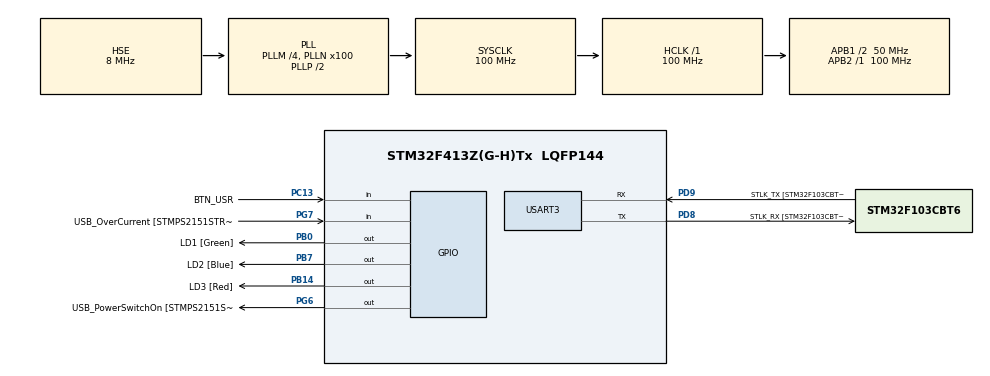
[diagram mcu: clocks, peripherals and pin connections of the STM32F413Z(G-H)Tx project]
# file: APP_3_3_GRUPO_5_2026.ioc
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Mcu.Family=STM32F4
Mcu.Name=STM32F413Z(G-H)Tx
Mcu.Package=LQFP144
NVIC.PriorityGroup=NVIC_PRIORITYGROUP_4
PA14.GPIO_Label=TCK
PA14.Signal=SYS_JTCK-SWCLK
PB0.GPIO_Label=LD1 [Green]
PB0.Signal=GPIO_Output
PB14.GPIO_Label=LD3 [Red]
PB14.Signal=GPIO_Output
PB7.GPIO_Label=LD2 [Blue]
PB7.Signal=GPIO_Output
PC13.GPIO_Label=BTN_USR
PC13.Signal=GPIO_Input
PC14-OSC32_IN.Mode=LSE-External-Oscillator
PC14-OSC32_IN.Signal=RCC_OSC32_IN
PC15-OSC32_OUT.Mode=LSE-External-Oscillator
PC15-OSC32_OUT.Signal=RCC_OSC32_OUT
PD8.GPIO_Label=STLK_RX [STM32F103CBT6_PA3]
PD8.Mode=Asynchronous
PD8.Signal=USART3_TX
PD9.GPIO_Label=STLK_TX [STM32F103CBT6_PA2]
PD9.Mode=Asynchronous
PD9.Signal=USART3_RX
PG6.GPIO_Label=USB_PowerSwitchOn [STMPS2151STR_EN]
PG6.Signal=GPIO_Output
PG7.GPIO_Label=USB_OverCurrent [STMPS2151STR_FAULT]
PG7.Signal=GPIO_Input
PH0\ -\ OSC_IN.GPIO_Label=MCO
PH0\ -\ OSC_IN.Mode=HSE-External-Oscillator
PH0\ -\ OSC_IN.Signal=RCC_OSC_IN
PH1\ -\ OSC_OUT.Mode=HSE-External-Oscillator
PH1\ -\ OSC_OUT.Signal=RCC_OSC_OUT
ProjectManager.HeapSize=0x200
ProjectManager.StackSize=0x400
ProjectManager.TargetToolchain=STM32CubeIDE
RCC.48MHZClocksFreq_Value=24000000
RCC.AHBFreq_Value=100000000
RCC.APB1CLKDivider=RCC_HCLK_DIV2
RCC.APB1Freq_Value=50000000
RCC.APB1TimFreq_Value=100000000
RCC.APB2Freq_Value=100000000
RCC.APB2TimFreq_Value=100000000
RCC.CortexFreq_Value=100000000
RCC.HCLKFreq_Value=100000000
RCC.HSE_VALUE=8000000
RCC.HSI_VALUE=16000000
RCC.PLLM=4
RCC.PLLMUL=RCC_PLL_MUL9
RCC.PLLN=100
RCC.PLLQ=8
RCC.PLLSourceVirtual=RCC_PLLSOURCE_HSE
RCC.PRESCALERUSB=RCC_USBCLKSOURCE_PLL_DIV1_5
RCC.SYSCLKFreq_VALUE=100000000
RCC.SYSCLKSource=RCC_SYSCLKSOURCE_PLLCLK
RCC.SYSCLKSourceVirtual=RCC_SYSCLKSOURCE_PLLCLK
RCC.USBFreq_Value=25000000
RCC.VCOOutputFreq_Value=200000000
USART3.VirtualMode=VM_ASYNC
board=NUCLEO-F413ZH

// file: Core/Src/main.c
/* USER CODE BEGIN Header */
/**
  ******************************************************************************
  * @file           : main.c
  * @brief          : App 1.3 - Control de secuencias de LEDs con FSM Debounce
  ******************************************************************************
  * @attention
  *
  * Copyright (c) 2026 STMicroelectronics.
  * All rights reserved.
  *
  * This software is licensed under terms that can be found in the LICENSE file
  * in the root directory of this software component.
  * If no LICENSE file comes with this software, it is provided AS-IS.
  *
  ******************************************************************************
  */
/* USER CODE END Header */

#include "main.h"
#include <stdbool.h>
#include <stdint.h>
#include "API_GPIO.h"
#include "API_delay.h"
#include "API_debounce.h"

/* USER CODE BEGIN PD */
#define LED1 LD1_Pin // GREEN LED
#define LED2 LD2_Pin // BLUE LED
#define LED3 LD3_Pin // RED LED

#define RETARDO_100MS 100
#define RETARDO_150MS 150
#define RETARDO_300MS 300
#define RETARDO_600MS 600

#define CANT_LED 3
/* USER CODE END PD */

UART_HandleTypeDef huart3;

/* USER CODE BEGIN PV */
static uint16_t LEDS[CANT_LED] = {LED1, LED2, LED3};

/* Delays independientes para no interferir entre secuencias */
static delay_t timer_sec1;
static delay_t timer_sec2;
static delay_t timer_sec3_led1;
static delay_t timer_sec3_led2;
static delay_t timer_sec3_led3;
static delay_t timer_sec4;

static uint8_t secuencia_activa = 0;
/* USER CODE END PV */

void SystemClock_Config(void);
static void MX_USART3_UART_Init(void);

/* USER CODE BEGIN PFP */
static void apagarTodosLosLeds(void);
static void inicializarSecuencia(uint8_t sec);
static void ejecutarSecuencia1(void);
static void ejecutarSecuencia2(void);
static void ejecutarSecuencia3(void);
static void ejecutarSecuencia4(void);
/* USER CODE END PFP */

int main(void)
{
  /* MCU Configuration--------------------------------------------------------*/
  /* Reset of all peripherals, Initializes the Flash interface and the Systick. */
  HAL_Init();

  /* Configure the system clock */
  SystemClock_Config();

  /* Initialize all configured peripherals */
  MX_GPIO_Init();
  MX_USART3_UART_Init();

  /* USER CODE BEGIN 2 */
  /* Inicialización del antirrebote y la primera secuencia */
  debounceFSM_init();
  inicializarSecuencia(secuencia_activa);
  /* USER CODE END 2 */

  /* Infinite loop */
  /* USER CODE BEGIN WHILE */
  while (1)
  {
    /* 1. Actualización de la MEF de antirrebote leyendo el botón */
    bool estadoBoton = readButton_GPIO();
    debounceFSM_update(estadoBoton);

    /* 2. Detección de pulsación y transición de secuencia */
    if (readKey())
    {
      secuencia_activa++;
      if (secuencia_activa >= 4)
      {
        secuencia_activa = 0;
      }
      inicializarSecuencia(secuencia_activa);
    }

    /* 3. Ejecución no bloqueante de la secuencia seleccionada */
    switch (secuencia_activa)
    {
      case 0:
        ejecutarSecuencia1();
        break;

      case 1:
        ejecutarSecuencia2();
        break;

      case 2:
        ejecutarSecuencia3();
        break;

      case 3:
        ejecutarSecuencia4();
        break;

      default:
        secuencia_activa = 0;
        inicializarSecuencia(secuencia_activa);
        break;
    }
    /* USER CODE END WHILE */

  }
}

/* USER CODE BEGIN 4 */

static void apagarTodosLosLeds(void)
{
  writeLedOff_GPIO(LEDS[0]);
  writeLedOff_GPIO(LEDS[1]);
  writeLedOff_GPIO(LEDS[2]);
}

/**
  * @brief  Prepara las variables y estados de salida de cada secuencia al entrar en ella.
  */
static void inicializarSecuencia(uint8_t sec)
{
  apagarTodosLosLeds();

  switch (sec)
  {
    case 0:
      delayInit(&timer_sec1, RETARDO_150MS);
      writeLedOn_GPIO(LEDS[0]); // Inicia con el primer LED encendido
      break;

    case 1:
      delayInit(&timer_sec2, RETARDO_300MS);
      writeLedOn_GPIO(LEDS[0]);
      writeLedOn_GPIO(LEDS[1]);
      writeLedOn_GPIO(LEDS[2]);
      break;

    case 2:
      delayInit(&timer_sec3_led1, RETARDO_100MS);
      delayInit(&timer_sec3_led2, RETARDO_300MS);
      delayInit(&timer_sec3_led3, RETARDO_600MS);
      break;

    case 3:
      delayInit(&timer_sec4, RETARDO_150MS);
      writeLedOn_GPIO(LEDS[0]);  // LED1 ON
      writeLedOff_GPIO(LEDS[1]); // LED2 OFF
      writeLedOn_GPIO(LEDS[2]);  // LED3 ON
      break;

    default:
      break;
  }
}

/**
  * @brief  Secuencia 1: Rotación cíclica LED1 -> LED2 -> LED3 cada 150 ms.
  */
static void ejecutarSecuencia1(void)
{
  static uint8_t indiceLed = 0;

  if (delayRead(&timer_sec1))
  {
    writeLedOff_GPIO(LEDS[indiceLed]);
    indiceLed++;
    if (indiceLed >= CANT_LED)
    {
      indiceLed = 0;
    }
    writeLedOn_GPIO(LEDS[indiceLed]);
  }
}

/**
  * @brief  Secuencia 2: Parpadeo simultáneo de los 3 LEDs cada 300 ms.
  */
static void ejecutarSecuencia2(void)
{
  if (delayRead(&timer_sec2))
  {
    toggleLed_GPIO(LEDS[0]);
    toggleLed_GPIO(LEDS[1]);
    toggleLed_GPIO(LEDS[2]);
  }
}

/**
  * @brief  Secuencia 3: LED1 (100 ms), LED2 (300 ms), LED3 (600 ms) independientes.
  */
static void ejecutarSecuencia3(void)
{
  if (delayRead(&timer_sec3_led1))
  {
    toggleLed_GPIO(LEDS[0]);
  }

  if (delayRead(&timer_sec3_led2))
  {
    toggleLed_GPIO(LEDS[1]);
  }

  if (delayRead(&timer_sec3_led3))
  {
    toggleLed_GPIO(LEDS[2]);
  }
}

/**
  * @brief  Secuencia 4: Alternancia a 150 ms en contrafase (LED1 y LED3 vs LED2).
  */
static void ejecutarSecuencia4(void)
{
  if (delayRead(&timer_sec4))
  {
    toggleLed_GPIO(LEDS[0]);
    toggleLed_GPIO(LEDS[1]);
    toggleLed_GPIO(LEDS[2]);
  }
}

/* USER CODE END 4 */

void SystemClock_Config(void)
{
  RCC_OscInitTypeDef RCC_OscInitStruct = {0};
  RCC_ClkInitTypeDef RCC_ClkInitStruct = {0};

  /** Configure the main internal regulator output voltage
  */
  __HAL_RCC_PWR_CLK_ENABLE();
  __HAL_PWR_VOLTAGESCALING_CONFIG(PWR_REGULATOR_VOLTAGE_SCALE1);

  /** Initializes the RCC Oscillators according to the specified parameters
  * in the RCC_OscInitTypeDef structure.
  */
  RCC_OscInitStruct.OscillatorType = RCC_OSCILLATORTYPE_HSE;
  RCC_OscInitStruct.HSEState = RCC_HSE_BYPASS;
  RCC_OscInitStruct.PLL.PLLState = RCC_PLL_ON;
  RCC_OscInitStruct.PLL.PLLSource = RCC_PLLSOURCE_HSE;
  RCC_OscInitStruct.PLL.PLLM = 4;
  RCC_OscInitStruct.PLL.PLLN = 100;
  RCC_OscInitStruct.PLL.PLLP = RCC_PLLP_DIV2;
  RCC_OscInitStruct.PLL.PLLQ = 8;
  RCC_OscInitStruct.PLL.PLLR = 2;
  if (HAL_RCC_OscConfig(&RCC_OscInitStruct) != HAL_OK)
  {
    Error_Handler();
  }

  /** Initializes the CPU, AHB and APB buses clocks
  */
  RCC_ClkInitStruct.ClockType = RCC_CLOCKTYPE_HCLK|RCC_CLOCKTYPE_SYSCLK
                              |RCC_CLOCKTYPE_PCLK1|RCC_CLOCKTYPE_PCLK2;
  RCC_ClkInitStruct.SYSCLKSource = RCC_SYSCLKSOURCE_PLLCLK;
  RCC_ClkInitStruct.AHBCLKDivider = RCC_SYSCLK_DIV1;
  RCC_ClkInitStruct.APB1CLKDivider = RCC_HCLK_DIV2;
  RCC_ClkInitStruct.APB2CLKDivider = RCC_HCLK_DIV1;

  if (HAL_RCC_ClockConfig(&RCC_ClkInitStruct, FLASH_LATENCY_3) != HAL_OK)
  {
    Error_Handler();
  }
}

static void MX_USART3_UART_Init(void)
{

  huart3.Instance = USART3;
  huart3.Init.BaudRate = 115200;
  huart3.Init.WordLength = UART_WORDLENGTH_8B;
  huart3.Init.StopBits = UART_STOPBITS_1;
  huart3.Init.Parity = UART_PARITY_NONE;
  huart3.Init.Mode = UART_MODE_TX_RX;
  huart3.Init.HwFlowCtl = UART_HWCONTROL_NONE;
  huart3.Init.OverSampling = UART_OVERSAMPLING_16;
  if (HAL_UART_Init(&huart3) != HAL_OK)
  {
    Error_Handler();
  }
}

void Error_Handler(void)
{
  __disable_irq();
  while (1)
  {
  }
}
